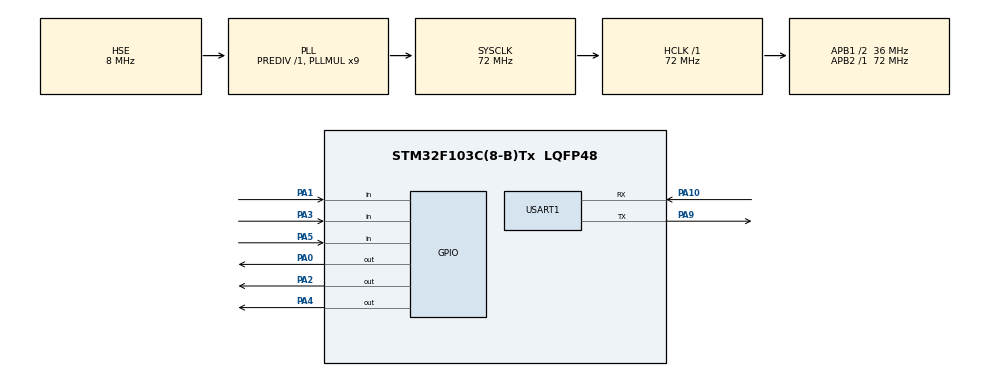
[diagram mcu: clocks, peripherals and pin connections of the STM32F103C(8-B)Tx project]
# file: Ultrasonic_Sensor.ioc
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Mcu.Family=STM32F1
Mcu.Name=STM32F103C(8-B)Tx
Mcu.Package=LQFP48
NVIC.PriorityGroup=NVIC_PRIORITYGROUP_4
PA0-WKUP.Signal=GPIO_Output
PA1.Signal=GPIO_Input
PA10.Mode=Asynchronous
PA10.Signal=USART1_RX
PA2.Signal=GPIO_Output
PA3.Signal=GPIO_Input
PA4.Signal=GPIO_Output
PA5.Signal=GPIO_Input
PA9.Mode=Asynchronous
PA9.Signal=USART1_TX
PD0-OSC_IN.Mode=HSE-External-Oscillator
PD0-OSC_IN.Signal=RCC_OSC_IN
PD1-OSC_OUT.Mode=HSE-External-Oscillator
PD1-OSC_OUT.Signal=RCC_OSC_OUT
ProjectManager.HeapSize=0x200
ProjectManager.StackSize=0x400
ProjectManager.TargetToolchain=STM32CubeIDE
RCC.AHBFreq_Value=72000000
RCC.APB1CLKDivider=RCC_HCLK_DIV2
RCC.APB1Freq_Value=36000000
RCC.APB1TimFreq_Value=72000000
RCC.APB2Freq_Value=72000000
RCC.APB2TimFreq_Value=72000000
RCC.HCLKFreq_Value=72000000
RCC.PLLMUL=RCC_PLL_MUL9
RCC.PLLSourceVirtual=RCC_PLLSOURCE_HSE
RCC.SYSCLKFreq_VALUE=72000000
RCC.SYSCLKSource=RCC_SYSCLKSOURCE_PLLCLK
RCC.USBFreq_Value=72000000
USART1.VirtualMode=VM_ASYNC
VP_SYS_VS_ND.Mode=No_Debug
VP_TIM2_VS_ClockSourceINT.Mode=Internal
board=custom

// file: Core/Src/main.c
/* USER CODE BEGIN Header */
/**
  ******************************************************************************
  * @file           : main.c
  * @brief          : Main program body
  ******************************************************************************
  * @attention
  *
  * Copyright (c) 2026 STMicroelectronics.
  * All rights reserved.
  *
  * This software is licensed under terms that can be found in the LICENSE file
  * in the root directory of this software component.
  * If no LICENSE file comes with this software, it is provided AS-IS.
  *
  ******************************************************************************
  */
/* USER CODE END Header */
#include "main.h"

/* USER CODE BEGIN Includes */
#include <stdio.h>
#include <string.h>
/* USER CODE END Includes */

TIM_HandleTypeDef htim2;

UART_HandleTypeDef huart1;

/* USER CODE BEGIN PV */
/* USER CODE BEGIN PV */
uint32_t distance[3] = {0, 0, 0};
uint32_t time[3] = {0, 0, 0};
char uart_buf[100];

void delay_us(uint16_t us)
{
    __HAL_TIM_SET_COUNTER(&htim2, 0);
    while (__HAL_TIM_GET_COUNTER(&htim2) < us);
}

float ultrasonic_read(GPIO_TypeDef* TrigPort, uint16_t TrigPin, GPIO_TypeDef* EchoPort, uint16_t EchoPin)
{
    uint32_t start = 0;
    uint32_t stop = 0;
    uint32_t time_local = 0;
    float distance_local = 0;

    HAL_GPIO_WritePin(TrigPort, TrigPin, GPIO_PIN_RESET);
    delay_us(2);
    HAL_GPIO_WritePin(TrigPort, TrigPin, GPIO_PIN_SET);
    delay_us(10);
    HAL_GPIO_WritePin(TrigPort, TrigPin, GPIO_PIN_RESET);

    uint32_t timeout = HAL_GetTick();
    while(!(HAL_GPIO_ReadPin(EchoPort, EchoPin))) {
        if ((HAL_GetTick() - timeout) > 20) return 0;
    }
    start = __HAL_TIM_GET_COUNTER(&htim2);

    timeout = HAL_GetTick();
    while(HAL_GPIO_ReadPin(EchoPort, EchoPin)) {
        if ((HAL_GetTick() - timeout) > 20) return 0;
    }
    stop = __HAL_TIM_GET_COUNTER(&htim2);

    if (stop > start) {
        time_local = stop - start;
    } else {
        time_local = (65535 - start) + stop;
    }

    distance_local = ((float)time_local * 0.0343f) / 2.0f;
    return distance_local;
}
/* USER CODE END PV */
/* USER CODE END PV */

void SystemClock_Config(void);
static void MX_GPIO_Init(void);
static void MX_TIM2_Init(void);
static void MX_USART1_UART_Init(void);

int main(void)
{

  /* MCU Configuration--------------------------------------------------------*/

  /* Reset of all peripherals, Initializes the Flash interface and the Systick. */
  HAL_Init();

  /* Configure the system clock */
  SystemClock_Config();

  /* Initialize all configured peripherals */
  MX_GPIO_Init();
  MX_TIM2_Init();
  MX_USART1_UART_Init();
  /* USER CODE BEGIN 2 */
  //start the timer
  HAL_TIM_Base_Start_IT(&htim2);
  /* USER CODE END 2 */

  /* Infinite loop */
  while (1)
  {
	  distance[0] = (uint32_t)ultrasonic_read(GPIOA, GPIO_PIN_0, GPIOA, GPIO_PIN_1);
	  HAL_Delay(30);

	  distance[1] = (uint32_t)ultrasonic_read(GPIOA, GPIO_PIN_2, GPIOA, GPIO_PIN_3);
	  HAL_Delay(30);

	  distance[2] = (uint32_t)ultrasonic_read(GPIOA, GPIO_PIN_4, GPIOA, GPIO_PIN_5);

	  sprintf(uart_buf, "S1: %ld cm  |  S2: %ld cm  |  S3: %ld cm\r\n", distance[0], distance[1], distance[2]);
	  HAL_UART_Transmit(&huart1, (uint8_t*)uart_buf, strlen(uart_buf), HAL_MAX_DELAY);

	  HAL_Delay(500);
  }
}

void SystemClock_Config(void)
{
  RCC_OscInitTypeDef RCC_OscInitStruct = {0};
  RCC_ClkInitTypeDef RCC_ClkInitStruct = {0};

  /** Initializes the RCC Oscillators according to the specified parameters
  * in the RCC_OscInitTypeDef structure.
  */
  RCC_OscInitStruct.OscillatorType = RCC_OSCILLATORTYPE_HSE;
  RCC_OscInitStruct.HSEState = RCC_HSE_ON;
  RCC_OscInitStruct.HSEPredivValue = RCC_HSE_PREDIV_DIV1;
  RCC_OscInitStruct.HSIState = RCC_HSI_ON;
  RCC_OscInitStruct.PLL.PLLState = RCC_PLL_ON;
  RCC_OscInitStruct.PLL.PLLSource = RCC_PLLSOURCE_HSE;
  RCC_OscInitStruct.PLL.PLLMUL = RCC_PLL_MUL9;
  if (HAL_RCC_OscConfig(&RCC_OscInitStruct) != HAL_OK)
  {
    Error_Handler();
  }

  /** Initializes the CPU, AHB and APB buses clocks
  */
  RCC_ClkInitStruct.ClockType = RCC_CLOCKTYPE_HCLK|RCC_CLOCKTYPE_SYSCLK
                              |RCC_CLOCKTYPE_PCLK1|RCC_CLOCKTYPE_PCLK2;
  RCC_ClkInitStruct.SYSCLKSource = RCC_SYSCLKSOURCE_PLLCLK;
  RCC_ClkInitStruct.AHBCLKDivider = RCC_SYSCLK_DIV1;
  RCC_ClkInitStruct.APB1CLKDivider = RCC_HCLK_DIV2;
  RCC_ClkInitStruct.APB2CLKDivider = RCC_HCLK_DIV1;

  if (HAL_RCC_ClockConfig(&RCC_ClkInitStruct, FLASH_LATENCY_2) != HAL_OK)
  {
    Error_Handler();
  }
}

static void MX_TIM2_Init(void)
{

  TIM_ClockConfigTypeDef sClockSourceConfig = {0};
  TIM_MasterConfigTypeDef sMasterConfig = {0};

  htim2.Instance = TIM2;
  htim2.Init.Prescaler = 0;
  htim2.Init.CounterMode = TIM_COUNTERMODE_UP;
  htim2.Init.Period = 65535;
  htim2.Init.ClockDivision = TIM_CLOCKDIVISION_DIV1;
  htim2.Init.AutoReloadPreload = TIM_AUTORELOAD_PRELOAD_DISABLE;
  if (HAL_TIM_Base_Init(&htim2) != HAL_OK)
  {
    Error_Handler();
  }
  sClockSourceConfig.ClockSource = TIM_CLOCKSOURCE_INTERNAL;
  if (HAL_TIM_ConfigClockSource(&htim2, &sClockSourceConfig) != HAL_OK)
  {
    Error_Handler();
  }
  sMasterConfig.MasterOutputTrigger = TIM_TRGO_RESET;
  sMasterConfig.MasterSlaveMode = TIM_MASTERSLAVEMODE_DISABLE;
  if (HAL_TIMEx_MasterConfigSynchronization(&htim2, &sMasterConfig) != HAL_OK)
  {
    Error_Handler();
  }

}

static void MX_USART1_UART_Init(void)
{

  huart1.Instance = USART1;
  huart1.Init.BaudRate = 115200;
  huart1.Init.WordLength = UART_WORDLENGTH_8B;
  huart1.Init.StopBits = UART_STOPBITS_1;
  huart1.Init.Parity = UART_PARITY_NONE;
  huart1.Init.Mode = UART_MODE_TX_RX;
  huart1.Init.HwFlowCtl = UART_HWCONTROL_NONE;
  huart1.Init.OverSampling = UART_OVERSAMPLING_16;
  if (HAL_UART_Init(&huart1) != HAL_OK)
  {
    Error_Handler();
  }

}

static void MX_GPIO_Init(void)
{
  GPIO_InitTypeDef GPIO_InitStruct = {0};

  /* GPIO Ports Clock Enable */
  __HAL_RCC_GPIOD_CLK_ENABLE();
  __HAL_RCC_GPIOA_CLK_ENABLE();

  /*Configure GPIO pin Output Level */
  HAL_GPIO_WritePin(GPIOA, GPIO_PIN_0|GPIO_PIN_2|GPIO_PIN_4, GPIO_PIN_RESET);

  /*Configure GPIO pins : PA0 PA2 PA4 */
  GPIO_InitStruct.Pin = GPIO_PIN_0|GPIO_PIN_2|GPIO_PIN_4;
  GPIO_InitStruct.Mode = GPIO_MODE_OUTPUT_PP;
  GPIO_InitStruct.Pull = GPIO_NOPULL;
  GPIO_InitStruct.Speed = GPIO_SPEED_FREQ_LOW;
  HAL_GPIO_Init(GPIOA, &GPIO_InitStruct);

  /*Configure GPIO pins : PA1 PA3 PA5 */
  GPIO_InitStruct.Pin = GPIO_PIN_1|GPIO_PIN_3|GPIO_PIN_5;
  GPIO_InitStruct.Mode = GPIO_MODE_INPUT;
  GPIO_InitStruct.Pull = GPIO_NOPULL;
  HAL_GPIO_Init(GPIOA, &GPIO_InitStruct);

}

void Error_Handler(void)
{
  __disable_irq();
  while (1)
  {
  }
}
